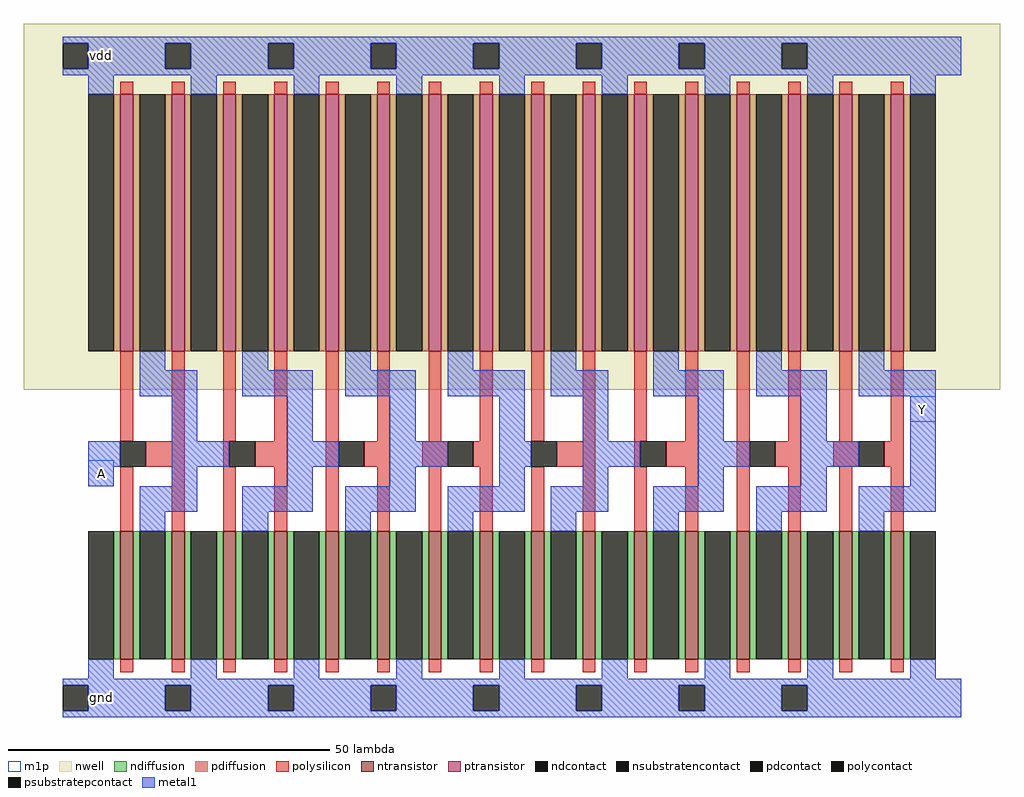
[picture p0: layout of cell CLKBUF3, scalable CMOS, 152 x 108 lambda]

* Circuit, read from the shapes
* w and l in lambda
.subckt CLKBUF3 A Y gnd vdd
M1 n1 A gnd gnd nfet w=20 l=2 m=2
M2 n2 n1 gnd gnd nfet w=20 l=2 m=2
M3 n3 n2 gnd gnd nfet w=20 l=2 m=2
M4 n4 n3 gnd gnd nfet w=20 l=2 m=2
M5 n5 n4 gnd gnd nfet w=20 l=2 m=2
M6 n6 n5 gnd gnd nfet w=20 l=2 m=2
M7 n7 n6 gnd gnd nfet w=20 l=2 m=2
M8 Y n7 gnd gnd nfet w=20 l=2 m=2
M9 n1 A vdd vdd pfet w=40 l=2 m=2
M10 n2 n1 vdd vdd pfet w=40 l=2 m=2
M11 n3 n2 vdd vdd pfet w=40 l=2 m=2
M12 n4 n3 vdd vdd pfet w=40 l=2 m=2
M13 n5 n4 vdd vdd pfet w=40 l=2 m=2
M14 n6 n5 vdd vdd pfet w=40 l=2 m=2
M15 n7 n6 vdd vdd pfet w=40 l=2 m=2
M16 Y n7 vdd vdd pfet w=40 l=2 m=2
.ends

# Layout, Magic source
magic
tech scmos
<< nwell >>
rect -8 48 144 105
<< ntransistor >>
rect 7 6 9 26
rect 15 6 17 26
rect 23 6 25 26
rect 31 6 33 26
rect 39 6 41 26
rect 47 6 49 26
rect 55 6 57 26
rect 63 6 65 26
rect 71 6 73 26
rect 79 6 81 26
rect 87 6 89 26
rect 95 6 97 26
rect 103 6 105 26
rect 111 6 113 26
rect 119 6 121 26
rect 127 6 129 26
<< ptransistor >>
rect 7 54 9 94
rect 15 54 17 94
rect 23 54 25 94
rect 31 54 33 94
rect 39 54 41 94
rect 47 54 49 94
rect 55 54 57 94
rect 63 54 65 94
rect 71 54 73 94
rect 79 54 81 94
rect 87 54 89 94
rect 95 54 97 94
rect 103 54 105 94
rect 111 54 113 94
rect 119 54 121 94
rect 127 54 129 94
<< ndiffusion >>
rect 6 6 7 26
rect 9 6 10 26
rect 14 6 15 26
rect 17 6 18 26
rect 22 6 23 26
rect 25 6 26 26
rect 30 6 31 26
rect 33 6 34 26
rect 38 6 39 26
rect 41 6 42 26
rect 46 6 47 26
rect 49 6 50 26
rect 54 6 55 26
rect 57 6 58 26
rect 62 6 63 26
rect 65 6 66 26
rect 70 6 71 26
rect 73 6 74 26
rect 78 6 79 26
rect 81 6 82 26
rect 86 6 87 26
rect 89 6 90 26
rect 94 6 95 26
rect 97 6 98 26
rect 102 6 103 26
rect 105 6 106 26
rect 110 6 111 26
rect 113 6 114 26
rect 118 6 119 26
rect 121 6 122 26
rect 126 6 127 26
rect 129 6 130 26
<< pdiffusion >>
rect 6 54 7 94
rect 9 54 10 94
rect 14 54 15 94
rect 17 54 18 94
rect 22 54 23 94
rect 25 54 26 94
rect 30 54 31 94
rect 33 54 34 94
rect 38 54 39 94
rect 41 54 42 94
rect 46 54 47 94
rect 49 54 50 94
rect 54 54 55 94
rect 57 54 58 94
rect 62 54 63 94
rect 65 54 66 94
rect 70 54 71 94
rect 73 54 74 94
rect 78 54 79 94
rect 81 54 82 94
rect 86 54 87 94
rect 89 54 90 94
rect 94 54 95 94
rect 97 54 98 94
rect 102 54 103 94
rect 105 54 106 94
rect 110 54 111 94
rect 113 54 114 94
rect 118 54 119 94
rect 121 54 122 94
rect 126 54 127 94
rect 129 54 130 94
<< ndcontact >>
rect 2 6 6 26
rect 10 6 14 26
rect 18 6 22 26
rect 26 6 30 26
rect 34 6 38 26
rect 42 6 46 26
rect 50 6 54 26
rect 58 6 62 26
rect 66 6 70 26
rect 74 6 78 26
rect 82 6 86 26
rect 90 6 94 26
rect 98 6 102 26
rect 106 6 110 26
rect 114 6 118 26
rect 122 6 126 26
rect 130 6 134 26
<< pdcontact >>
rect 2 54 6 94
rect 10 54 14 94
rect 18 54 22 94
rect 26 54 30 94
rect 34 54 38 94
rect 42 54 46 94
rect 50 54 54 94
rect 58 54 62 94
rect 66 54 70 94
rect 74 54 78 94
rect 82 54 86 94
rect 90 54 94 94
rect 98 54 102 94
rect 106 54 110 94
rect 114 54 118 94
rect 122 54 126 94
rect 130 54 134 94
<< psubstratepcontact >>
rect -2 -2 2 2
rect 14 -2 18 2
rect 30 -2 34 2
rect 46 -2 50 2
rect 62 -2 66 2
rect 78 -2 82 2
rect 94 -2 98 2
rect 110 -2 114 2
<< nsubstratencontact >>
rect -2 98 2 102
rect 14 98 18 102
rect 30 98 34 102
rect 46 98 50 102
rect 62 98 66 102
rect 78 98 82 102
rect 94 98 98 102
rect 110 98 114 102
<< polysilicon >>
rect 7 94 9 96
rect 15 94 17 96
rect 23 94 25 96
rect 31 94 33 96
rect 39 94 41 96
rect 47 94 49 96
rect 55 94 57 96
rect 63 94 65 96
rect 71 94 73 96
rect 79 94 81 96
rect 87 94 89 96
rect 95 94 97 96
rect 103 94 105 96
rect 111 94 113 96
rect 119 94 121 96
rect 127 94 129 96
rect 7 40 9 54
rect 15 40 17 54
rect 11 36 17 40
rect 7 26 9 36
rect 15 26 17 36
rect 23 40 25 54
rect 31 40 33 54
rect 23 36 24 40
rect 28 36 33 40
rect 23 26 25 36
rect 31 26 33 36
rect 39 26 41 54
rect 47 40 49 54
rect 55 40 57 54
rect 63 40 65 54
rect 45 36 49 40
rect 54 36 58 40
rect 62 36 65 40
rect 47 26 49 36
rect 55 26 57 36
rect 63 26 65 36
rect 71 40 73 54
rect 79 40 81 54
rect 75 36 81 40
rect 71 26 73 36
rect 79 26 81 36
rect 87 40 89 54
rect 95 40 97 54
rect 87 36 88 40
rect 92 36 97 40
rect 87 26 89 36
rect 95 26 97 36
rect 103 26 105 54
rect 111 40 113 54
rect 119 40 121 54
rect 127 40 129 54
rect 109 36 113 40
rect 118 36 122 40
rect 126 36 129 40
rect 111 26 113 36
rect 119 26 121 36
rect 127 26 129 36
rect 7 4 9 6
rect 15 4 17 6
rect 23 4 25 6
rect 31 4 33 6
rect 39 4 41 6
rect 47 4 49 6
rect 55 4 57 6
rect 63 4 65 6
rect 71 4 73 6
rect 79 4 81 6
rect 87 4 89 6
rect 95 4 97 6
rect 103 4 105 6
rect 111 4 113 6
rect 119 4 121 6
rect 127 4 129 6
<< polycontact >>
rect 7 36 11 40
rect 24 36 28 40
rect 41 36 45 40
rect 58 36 62 40
rect 71 36 75 40
rect 88 36 92 40
rect 105 36 109 40
rect 122 36 126 40
<< metal1 >>
rect -2 102 138 103
rect 2 98 14 102
rect 18 98 30 102
rect 34 98 46 102
rect 50 98 62 102
rect 66 98 78 102
rect 82 98 94 102
rect 98 98 110 102
rect 114 98 138 102
rect -2 97 138 98
rect 2 94 6 97
rect 18 94 22 97
rect 34 94 38 97
rect 50 94 54 97
rect 66 94 70 97
rect 82 94 86 97
rect 98 94 102 97
rect 114 94 118 97
rect 130 94 134 97
rect 10 51 14 54
rect 26 51 30 54
rect 42 51 46 54
rect 58 51 62 54
rect 74 51 78 54
rect 90 51 94 54
rect 106 51 110 54
rect 122 51 126 54
rect 10 47 19 51
rect 26 47 37 51
rect 42 47 53 51
rect 58 47 70 51
rect 74 47 83 51
rect 90 47 101 51
rect 106 47 117 51
rect 122 47 134 51
rect 15 40 19 47
rect 33 40 37 47
rect 49 40 53 47
rect 66 40 70 47
rect 79 40 83 47
rect 97 40 101 47
rect 113 40 117 47
rect 2 36 7 40
rect 15 36 24 40
rect 33 36 41 40
rect 49 36 58 40
rect 66 36 71 40
rect 79 36 88 40
rect 97 36 105 40
rect 113 36 122 40
rect 2 33 6 36
rect 15 33 19 36
rect 33 33 37 36
rect 49 33 53 36
rect 66 33 70 36
rect 79 33 83 36
rect 97 33 101 36
rect 113 33 117 36
rect 130 33 134 47
rect 10 29 19 33
rect 26 29 37 33
rect 42 29 53 33
rect 58 29 70 33
rect 74 29 83 33
rect 90 29 101 33
rect 106 29 117 33
rect 122 29 134 33
rect 10 26 14 29
rect 26 26 30 29
rect 42 26 46 29
rect 58 26 62 29
rect 74 26 78 29
rect 90 26 94 29
rect 106 26 110 29
rect 122 26 126 29
rect 2 3 6 6
rect 18 3 22 6
rect 34 3 38 6
rect 50 3 54 6
rect 66 3 70 6
rect 82 3 86 6
rect 98 3 102 6
rect 114 3 118 6
rect 130 3 134 6
rect -2 2 138 3
rect 2 -2 14 2
rect 18 -2 30 2
rect 34 -2 46 2
rect 50 -2 62 2
rect 66 -2 78 2
rect 82 -2 94 2
rect 98 -2 110 2
rect 114 -2 138 2
rect -2 -3 138 -2
<< m1p >>
rect 130 43 134 47
rect 2 33 6 37
<< labels >>
rlabel metal1 4 0 4 0 1 gnd
rlabel metal1 4 100 4 100 5 vdd
rlabel metal1 4 35 4 35 1 A
rlabel metal1 132 45 132 45 1 Y
<< end >>
